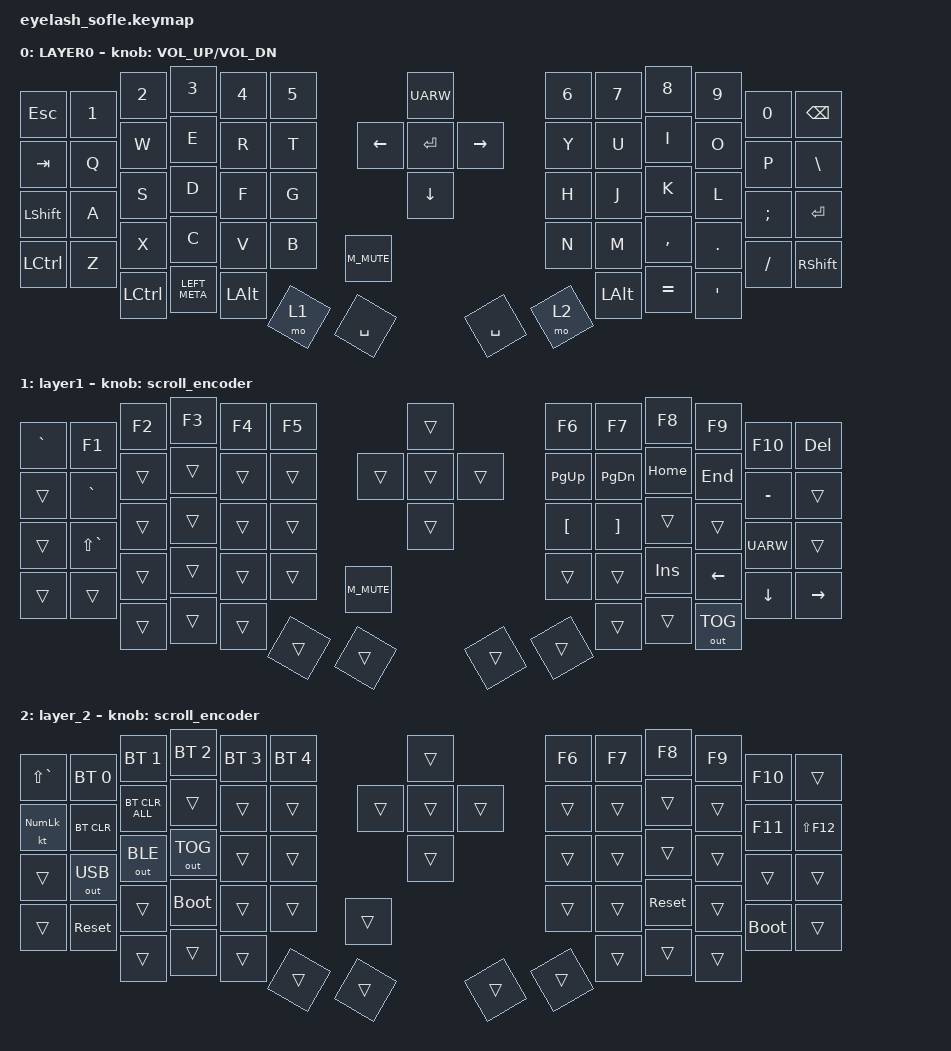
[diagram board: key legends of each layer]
#define ZMK_POINTING_DEFAULT_MOVE_VAL 1200  // 600
#define ZMK_POINTING_DEFAULT_SCRL_VAL 35    // 10
#include <input/processors.dtsi>
#include <behaviors.dtsi>
#include <dt-bindings/zmk/bt.h>
#include <dt-bindings/zmk/keys.h>
#include <dt-bindings/zmk/outputs.h>
#include <dt-bindings/zmk/pointing.h>
#include <dt-bindings/zmk/ext_power.h>
#include <dt-bindings/zmk/rgb.h>
#include <zephyr/dt-bindings/input/input-event-codes.h>

/ {
  zip_scroll_scaler: zip_scroll_scaler {
    compatible = "zmk,input-processor-scaler";
    #input-processor-cells = <2>;
    type = <INPUT_EV_REL>;
    codes = <INPUT_REL_WHEEL INPUT_REL_HWHEEL>;
    track-remainders;
  };
};

&mmv_input_listener {
       input-processors = <&zip_xy_scaler 2 1>;
};

&msc_input_listener {
       input-processors = <&zip_scroll_scaler 2 1>;
};

&msc {
    acceleration-exponent = <0>;      // 0
    time-to-max-speed-ms = <0>;       // 300
    delay-ms = <0>;                   // 0
};

&mmv {
    time-to-max-speed-ms = <400>;
    acceleration-exponent = <1>;
};


/ {
    scroll_encoder: scroll_encoder {
        compatible = "zmk,behavior-sensor-rotate";
        #sensor-binding-cells = <0>;
        bindings = <&msc SCRL_DOWN>, <&msc SCRL_UP>;

        tap-ms = <30>;
    };

    keymap {
        compatible = "zmk,keymap";

        layer0 {
            bindings = <
                &kp ESC         &kp NUM_1       &kp NUM_2       &kp NUM_3       &kp NUM_4       &kp NUM_5       &kp UARW        &kp NUM_6       &kp NUM_7       &kp NUM_8       &kp NUM_9       &kp NUM_0       &kp BSPC
                &kp TAB         &kp Q           &kp W           &kp E           &kp R           &kp T           &kp DOWN        &kp Y           &kp U           &kp I           &kp O           &kp P           &kp BSLH
                &kp LSHIFT      &kp A           &kp S           &kp D           &kp F           &kp G           &kp LEFT        &kp H           &kp J           &kp K           &kp L           &kp SEMI        &kp ENTER                
                &kp LCTRL       &kp Z           &kp X           &kp C           &kp V           &kp B           &kp RIGHT       &kp N           &kp M           &kp CMMA        &kp DOT         &kp FSLH        &kp RSHIFT      &kp M_MUTE
                &kp LCTRL       &kp LEFT_META   &kp LALT        &mo 1           &kp SPC         &kp ENTER       &kp SPC         &mo 2           &kp LALT        &kp EQL         &kp APOSTROPHE
            >;

            sensor-bindings = <&inc_dec_kp C_VOLUME_UP C_VOL_DN>;
            display-name = "LAYER0";
        };

        layer_1 {
            bindings = <
                &kp GRAV      &kp F1        &kp F2        &kp F3        &kp F4        &kp F5        &trans         &kp F6        &kp F7        &kp F8        &kp F9        &kp F10       &kp DEL
                &trans        &kp GRAV      &trans         &trans       &trans        &trans        &trans         &kp PG_UP     &kp PG_DN     &kp HOME      &kp END       &kp MINUS     &trans
                &trans        &kp LS(GRAV)  &trans        &trans        &trans        &trans        &trans         &kp LBKT      &kp RBKT      &trans        &trans        &kp UARW      &trans
                &trans        &trans        &trans        &trans        &trans        &trans        &trans         &trans        &trans        &kp INS       &kp LEFT      &kp DOWN      &kp RIGHT     &kp M_MUTE
                &trans        &trans        &trans        &trans        &trans        &trans        &trans        &trans        &trans        &trans         &out OUT_TOG
            >;
            display-name = "layer1";
            sensor-bindings = <&scroll_encoder>;
        };

        layer_2 {
            bindings = <
                &kp LS(GRAV)    &bt BT_SEL 0    &bt BT_SEL 1    &bt BT_SEL 2    &bt BT_SEL 3    &bt BT_SEL 4    &trans           &kp F6          &kp F7          &kp F8          &kp F9          &kp F10         &trans
                &kt KP_NLCK     &bt BT_CLR      &bt BT_CLR_ALL  &trans          &trans          &trans          &trans           &trans          &trans          &trans          &trans          &kp F11         &kp LS(F12)
                &trans          &out OUT_USB    &out OUT_BLE    &out OUT_TOG    &trans          &trans          &trans           &trans          &trans          &trans          &trans          &trans          &trans
                &trans          &sys_reset      &trans          &bootloader     &trans          &trans          &trans           &trans          &trans          &sys_reset      &trans           &bootloader     &trans          &trans
                &trans          &trans          &trans          &trans          &trans          &trans          &trans           &trans          &trans          &trans          &trans
            >;

            sensor-bindings = <&scroll_encoder>;
        };
    };
};
